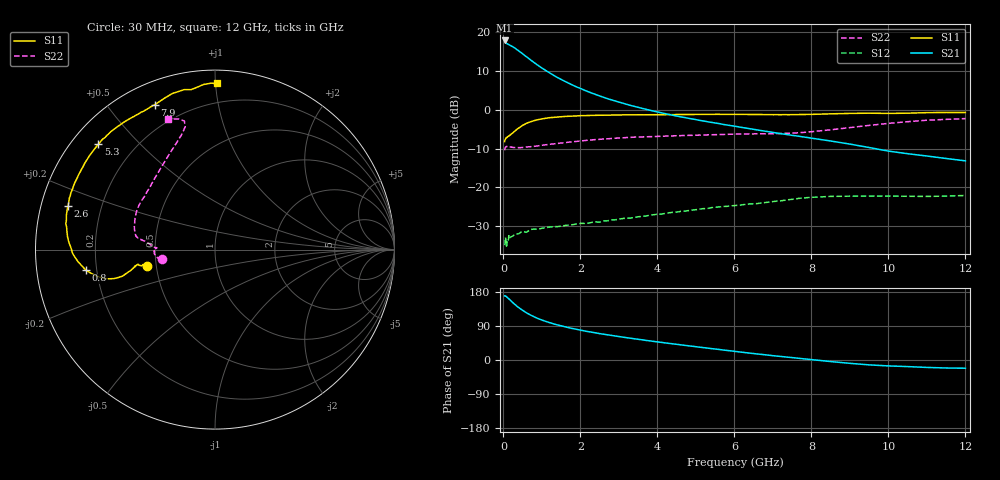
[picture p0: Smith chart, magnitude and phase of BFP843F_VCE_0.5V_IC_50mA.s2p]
! Infineon Technologies  Discrete & RF Semiconductors
! BFP843F
! VCE =  0.5 V,  IC =  50 mA
! Common Emitter S-Parameters:  Aug 2013
# GHz  S  MA  R  50
!  f  S11  S21  S12  S22
! GHz  MAG  ANG  MAG  ANG  MAG  ANG  MAG  ANG
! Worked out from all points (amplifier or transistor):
!   103 points, 30 MHz to 12 GHz, reference 50 ohm
!   highest |S21| = 17.9 dB at 30 MHz (marker M1)
!   |S21| within 3 dB of that: start of sweep to 437.4 MHz
!   unconditionally stable (mu >= 1): start of sweep to end of sweep
!   at 400 MHz: K = 2.25, MAG = 17.3 dB, |S12| = -32.0 dB
!   at 3.7 GHz: K = 2.52, MAG = 6.9 dB, |S12| = -27.4 dB
!   at 12 GHz: K = 2.29, MAG = -1.9 dB, |S12| = -22.1 dB
!   S11 on the Smith chart (normalised r, x): 30 MHz: 0.44, -0.09; 800 MHz: 0.16, -0.08; 2.6 GHz: 0.08, +0.14; 5.3 GHz: 0.08, +0.38; 7.9 GHz: 0.10, +0.66; 12 GHz: 0.08, +1.01
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0.03  0.3899 -166.8  7.891 169.2  0.0179 20.4  0.3011 -169.5
0.04  0.4091 -168.3  7.632 168.4  0.0185 22.0  0.3196 -171.5
0.05  0.4184 -167.5  7.445 169.1  0.0226 13.9  0.3301 -172.9
0.07  0.4359 -169.2  7.273 167.8  0.0201 9.3  0.3358 -175.2
0.25  0.5087 -165.1  6.505 150.8  0.0236 17.6  0.3275 178.7
0.35  0.5612 -163.9  6.016 142.0  0.025 17.2  0.3255 178.0
0.4  0.5847 -164.0  5.767 138.1  0.0252 17.8  0.3262 178.5
0.5  0.6328 -165.2  5.296 130.9  0.0268 17.3  0.3281 178.5
0.6  0.6716 -167.1  4.849 124.4  0.0263 16.4  0.3321 178.1
0.8  0.7278 -170.9  4.075 113.9  0.0289 16.8  0.3388 177.7
1  0.7665 -175.0  3.475 105.4  0.0296 17.8  0.3493 176.5
1.3  0.801 179.6  2.804 95.4  0.0311 18.9  0.364 175.3
1.7  0.8284 173.8  2.206 85.1  0.0326 20.6  0.3837 173.7
2.1  0.8441 168.8  1.801 76.7  0.0342 23.2  0.4015 172.9
2.6  0.8545 163.4  1.457 68.1  0.0368 25.4  0.4217 172.2
4.1  0.8683 148.8  0.918 46.5  0.0451 30.1  0.4563 167.7
5.3  0.8753 137.9  0.704 31.4  0.0534 29.9  0.4763 159.4
6.1  0.8759 130.6  0.605 21.7  0.0587 28.0  0.4878 152.5
7.9  0.8746 112.6  0.44 2.1  0.0739 22.3  0.5182 130.7
8.5  0.8901 108.2  0.397 -4.1  0.0764 18.2  0.5536 121.9
10.5  0.9079 96.8  0.272 -17.4  0.0767 10.1  0.705 103.6
12  0.9255 89.4  0.22 -21.7  0.0786 10.4  0.7729 109.9
